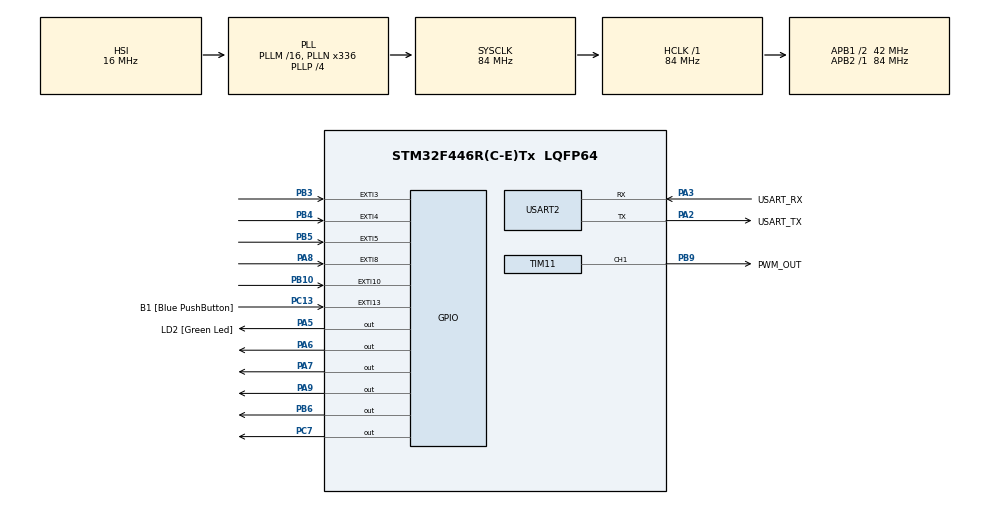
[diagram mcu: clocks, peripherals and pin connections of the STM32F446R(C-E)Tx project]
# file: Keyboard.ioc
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Mcu.Family=STM32F4
Mcu.Name=STM32F446R(C-E)Tx
Mcu.Package=LQFP64
NVIC.EXTI15_10_IRQn=true\:0\:0\:false\:false\:true\:true\:true\:true
NVIC.EXTI3_IRQn=true\:0\:0\:false\:false\:true\:true\:true\:true
NVIC.EXTI4_IRQn=true\:0\:0\:false\:false\:true\:true\:true\:true
NVIC.EXTI9_5_IRQn=true\:0\:0\:false\:false\:true\:true\:true\:true
NVIC.PriorityGroup=NVIC_PRIORITYGROUP_0
NVIC.USART2_IRQn=true\:0\:0\:false\:false\:true\:true\:true\:true
PA13.GPIO_Label=TMS
PA13.Mode=Serial_Wire
PA13.Signal=SYS_JTMS-SWDIO
PA14.GPIO_Label=TCK
PA14.Mode=Serial_Wire
PA14.Signal=SYS_JTCK-SWCLK
PA2.GPIO_Label=USART_TX
PA2.Mode=Asynchronous
PA2.Signal=USART2_TX
PA3.GPIO_Label=USART_RX
PA3.Mode=Asynchronous
PA3.Signal=USART2_RX
PA5.GPIO_Label=LD2 [Green Led]
PA5.Signal=GPIO_Output
PA6.Signal=GPIO_Output
PA7.Signal=GPIO_Output
PA8.GPIO_ModeDefaultEXTI=GPIO_MODE_IT_RISING
PA8.GPIO_PuPd=GPIO_PULLUP
PA8.Signal=GPXTI8
PA9.Signal=GPIO_Output
PB10.GPIO_ModeDefaultEXTI=GPIO_MODE_IT_RISING
PB10.GPIO_PuPd=GPIO_PULLUP
PB10.Signal=GPXTI10
PB3.GPIO_ModeDefaultEXTI=GPIO_MODE_IT_RISING
PB3.GPIO_PuPd=GPIO_PULLUP
PB3.Signal=GPXTI3
PB4.GPIO_ModeDefaultEXTI=GPIO_MODE_IT_RISING
PB4.GPIO_PuPd=GPIO_PULLUP
PB4.Signal=GPXTI4
PB5.GPIO_ModeDefaultEXTI=GPIO_MODE_IT_RISING
PB5.GPIO_PuPd=GPIO_PULLUP
PB5.Signal=GPXTI5
PB6.Signal=GPIO_Output
PB9.GPIO_Label=PWM_OUT
PB9.Signal=S_TIM11_CH1
PC13.GPIO_Label=B1 [Blue PushButton]
PC13.GPIO_ModeDefaultEXTI=GPIO_MODE_IT_FALLING
PC13.Signal=GPXTI13
PC14-OSC32_IN.Mode=LSE-External-Oscillator
PC14-OSC32_IN.Signal=RCC_OSC32_IN
PC15-OSC32_OUT.Mode=LSE-External-Oscillator
PC15-OSC32_OUT.Signal=RCC_OSC32_OUT
PC7.Signal=GPIO_Output
PH0-OSC_IN.Mode=HSE-External-Oscillator
PH0-OSC_IN.Signal=RCC_OSC_IN
PH1-OSC_OUT.Mode=HSE-External-Oscillator
PH1-OSC_OUT.Signal=RCC_OSC_OUT
ProjectManager.HeapSize=0x200
ProjectManager.StackSize=0x400
ProjectManager.TargetToolchain=STM32CubeIDE
RCC.48MHZClocksFreq_Value=84000000
RCC.AHBFreq_Value=84000000
RCC.APB1CLKDivider=RCC_HCLK_DIV2
RCC.APB1Freq_Value=42000000
RCC.APB1TimFreq_Value=84000000
RCC.APB2Freq_Value=84000000
RCC.APB2TimFreq_Value=84000000
RCC.CortexFreq_Value=84000000
RCC.FLatency-AdvancedSettings=FLASH_LATENCY_2
RCC.HCLKFreq_Value=84000000
RCC.HSE_VALUE=8000000
RCC.HSI_VALUE=16000000
RCC.PLLN=336
RCC.PLLP=RCC_PLLP_DIV4
RCC.SYSCLKFreq_VALUE=84000000
RCC.SYSCLKSource=RCC_SYSCLKSOURCE_PLLCLK
RCC.USBFreq_Value=168000000
RCC.VCOOutputFreq_Value=336000000
SH.S_TIM11_CH1.0=TIM11_CH1,PWM Generation1 CH1
TIM11.AutoReloadPreload=TIM_AUTORELOAD_PRELOAD_ENABLE
TIM11.Channel=TIM_CHANNEL_1
TIM11.Period=99
TIM11.Prescaler=83
USART2.VirtualMode=VM_ASYNC
VP_TIM11_VS_ClockSourceINT.Mode=Enable_Timer
board=NUCLEO-F446RE

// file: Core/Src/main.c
/* USER CODE BEGIN Header */
/**
  ******************************************************************************
  * @file           : main.c
  * @brief          : Main program body
  ******************************************************************************
  * @attention
  *
  * Copyright (c) 2025 STMicroelectronics.
  * All rights reserved.
  *
  * This software is licensed under terms that can be found in the LICENSE file
  * in the root directory of this software component.
  * If no LICENSE file comes with this software, it is provided AS-IS.
  *
  ******************************************************************************
  */
/* USER CODE END Header */
#include "main.h"

/* USER CODE BEGIN Includes */
#include "string.h"
#include "stdio.h"
#include "events.h"
/* USER CODE END Includes */

/* USER CODE BEGIN PTD */
typedef enum {
    STATE_F1,
    STATE_F2,
    STATE_F3,
} AppState;

typedef enum { // A bit atypical, but I want to be able to read data from PC connected through UART for better UX
  KEY_0 = '0',
  KEY_1 = '1',
  KEY_2 = '2',
  KEY_3 = '3',
  KEY_4 = '4',
  KEY_5 = '5',
  KEY_6 = '6',
  KEY_7 = '7',
  KEY_8 = '8',
  KEY_9 = '9',
  KEY_Enter = 'e',
  KEY_Clear = 'c',
  KEY_BkSp = 'b',
  KEY_Start = 'S',
  KEY_Stop = 's',
  KEY_ESC = '`',
  KEY_F1 = '!',
  KEY_F2 = '@',
  KEY_F3 = '#',
  KEY_F4 = '$',
  KEY_F5 = '%',
  KEY_Dot = '.',
  KEY_Lock = 'l',
  KEY_OFF = 'f',
  KEY_ON = 'n'
} KeyboardButton;

typedef struct {
	AppState currentState;

	// F1 - screen where user enters voltage and can start/stop PWM
  uint16_t voltage; // register holding voltage that has been validated and is ready to be sent to PWM
  uint16_t inputValue; // register holding current value of "input field"
  bool isVoltageEntered; // flag if we are ready to start PWM. Maybe redundant, we can check against voltage register. But its more robust this way
  bool isPwmRunning;
  char message[64]; // ad hoc message to display

    // F2 - screen where user sets three calibration points - TODO later
    uint16_t calibration_points[3]; // For mapping
} AppContext;

const char keymap[5][5] = {
    {KEY_ESC,  KEY_3,   KEY_2,     KEY_1,     KEY_BkSp},
    {KEY_6,    KEY_5,   KEY_4,     KEY_Clear, KEY_9},
    {KEY_8,    KEY_7,   KEY_Enter, KEY_Dot,   KEY_0},
    {KEY_Lock, KEY_F5,  KEY_F4,    KEY_F3,    KEY_F2},
    {KEY_F1,   KEY_OFF, KEY_ON,    KEY_Stop,  KEY_Start}
};
/* USER CODE END PTD */

TIM_HandleTypeDef htim11;

UART_HandleTypeDef huart2;

/* USER CODE BEGIN PV */
volatile int currentRow = -1; // -1 means no row is active
volatile int lastRow = -1;
volatile int lastCol = -1;
volatile uint32_t lastTriggerTime = 0;
uint8_t receivedChar;
/* USER CODE END PV */

void SystemClock_Config(void);
static void MX_GPIO_Init(void);
static void MX_USART2_UART_Init(void);
static void MX_TIM11_Init(void);
/* USER CODE BEGIN PFP */
void handle_event(AppContext *ctx, AppEvent *evt);
void renderState(AppContext *ctx);
void ClearScreen();
void setRowActive(int row);
void setAllRowsInactive();
void readFlexiKeyboard();

/* USER CODE END PFP */

int main(void)
{

  /* MCU Configuration--------------------------------------------------------*/

  /* Reset of all peripherals, Initializes the Flash interface and the Systick. */
  HAL_Init();

  /* Configure the system clock */
  SystemClock_Config();

  /* Initialize all configured peripherals */
  MX_GPIO_Init();
  MX_USART2_UART_Init();
  MX_TIM11_Init();
  /* USER CODE BEGIN 2 */
  HAL_TIM_PWM_Start(&htim11, TIM_CHANNEL_1);
  setAllRowsInactive();
  HAL_UART_Receive_IT(&huart2, &receivedChar, 1);
  setbuf(stdout, NULL);
  /* USER CODE END 2 */

  /* Infinite loop */
  /* USER CODE BEGIN WHILE */
  AppEvent evt;
  AppContext ctx;
  ctx.currentState = STATE_F1;
  ctx.isVoltageEntered = false;
  ctx.isPwmRunning = false;
  ctx.voltage = 0;
  ctx.inputValue = 0;

  renderState(&ctx);

  while (1)
  {
    if (event_queue_pop(&evt)) {
      handle_event(&ctx, &evt);
      renderState(&ctx);
    }

    readFlexiKeyboard(); // approx 25ms blocking code to scan the keyboard

    /* USER CODE END WHILE */

  }
}

void SystemClock_Config(void)
{
  RCC_OscInitTypeDef RCC_OscInitStruct = {0};
  RCC_ClkInitTypeDef RCC_ClkInitStruct = {0};

  /** Configure the main internal regulator output voltage
  */
  __HAL_RCC_PWR_CLK_ENABLE();
  __HAL_PWR_VOLTAGESCALING_CONFIG(PWR_REGULATOR_VOLTAGE_SCALE3);

  /** Initializes the RCC Oscillators according to the specified parameters
  * in the RCC_OscInitTypeDef structure.
  */
  RCC_OscInitStruct.OscillatorType = RCC_OSCILLATORTYPE_HSI;
  RCC_OscInitStruct.HSIState = RCC_HSI_ON;
  RCC_OscInitStruct.HSICalibrationValue = RCC_HSICALIBRATION_DEFAULT;
  RCC_OscInitStruct.PLL.PLLState = RCC_PLL_ON;
  RCC_OscInitStruct.PLL.PLLSource = RCC_PLLSOURCE_HSI;
  RCC_OscInitStruct.PLL.PLLM = 16;
  RCC_OscInitStruct.PLL.PLLN = 336;
  RCC_OscInitStruct.PLL.PLLP = RCC_PLLP_DIV4;
  RCC_OscInitStruct.PLL.PLLQ = 2;
  RCC_OscInitStruct.PLL.PLLR = 2;
  if (HAL_RCC_OscConfig(&RCC_OscInitStruct) != HAL_OK)
  {
    Error_Handler();
  }

  /** Initializes the CPU, AHB and APB buses clocks
  */
  RCC_ClkInitStruct.ClockType = RCC_CLOCKTYPE_HCLK|RCC_CLOCKTYPE_SYSCLK
                              |RCC_CLOCKTYPE_PCLK1|RCC_CLOCKTYPE_PCLK2;
  RCC_ClkInitStruct.SYSCLKSource = RCC_SYSCLKSOURCE_PLLCLK;
  RCC_ClkInitStruct.AHBCLKDivider = RCC_SYSCLK_DIV1;
  RCC_ClkInitStruct.APB1CLKDivider = RCC_HCLK_DIV2;
  RCC_ClkInitStruct.APB2CLKDivider = RCC_HCLK_DIV1;

  if (HAL_RCC_ClockConfig(&RCC_ClkInitStruct, FLASH_LATENCY_2) != HAL_OK)
  {
    Error_Handler();
  }
}

static void MX_TIM11_Init(void)
{

  TIM_OC_InitTypeDef sConfigOC = {0};

  htim11.Instance = TIM11;
  htim11.Init.Prescaler = 83;
  htim11.Init.CounterMode = TIM_COUNTERMODE_UP;
  htim11.Init.Period = 99;
  htim11.Init.ClockDivision = TIM_CLOCKDIVISION_DIV1;
  htim11.Init.AutoReloadPreload = TIM_AUTORELOAD_PRELOAD_ENABLE;
  if (HAL_TIM_Base_Init(&htim11) != HAL_OK)
  {
    Error_Handler();
  }
  if (HAL_TIM_PWM_Init(&htim11) != HAL_OK)
  {
    Error_Handler();
  }
  sConfigOC.OCMode = TIM_OCMODE_PWM1;
  sConfigOC.Pulse = 0;
  sConfigOC.OCPolarity = TIM_OCPOLARITY_HIGH;
  sConfigOC.OCFastMode = TIM_OCFAST_DISABLE;
  if (HAL_TIM_PWM_ConfigChannel(&htim11, &sConfigOC, TIM_CHANNEL_1) != HAL_OK)
  {
    Error_Handler();
  }
  HAL_TIM_MspPostInit(&htim11);

}

static void MX_USART2_UART_Init(void)
{

  huart2.Instance = USART2;
  huart2.Init.BaudRate = 115200;
  huart2.Init.WordLength = UART_WORDLENGTH_8B;
  huart2.Init.StopBits = UART_STOPBITS_1;
  huart2.Init.Parity = UART_PARITY_NONE;
  huart2.Init.Mode = UART_MODE_TX_RX;
  huart2.Init.HwFlowCtl = UART_HWCONTROL_NONE;
  huart2.Init.OverSampling = UART_OVERSAMPLING_16;
  if (HAL_UART_Init(&huart2) != HAL_OK)
  {
    Error_Handler();
  }

}

static void MX_GPIO_Init(void)
{
  GPIO_InitTypeDef GPIO_InitStruct = {0};

  /* GPIO Ports Clock Enable */
  __HAL_RCC_GPIOC_CLK_ENABLE();
  __HAL_RCC_GPIOH_CLK_ENABLE();
  __HAL_RCC_GPIOA_CLK_ENABLE();
  __HAL_RCC_GPIOB_CLK_ENABLE();

  /*Configure GPIO pin Output Level */
  HAL_GPIO_WritePin(GPIOA, LD2_Pin|GPIO_PIN_6|GPIO_PIN_7|GPIO_PIN_9, GPIO_PIN_RESET);

  /*Configure GPIO pin Output Level */
  HAL_GPIO_WritePin(GPIOC, GPIO_PIN_7, GPIO_PIN_RESET);

  /*Configure GPIO pin Output Level */
  HAL_GPIO_WritePin(GPIOB, GPIO_PIN_6, GPIO_PIN_RESET);

  /*Configure GPIO pin : B1_Pin */
  GPIO_InitStruct.Pin = B1_Pin;
  GPIO_InitStruct.Mode = GPIO_MODE_IT_FALLING;
  GPIO_InitStruct.Pull = GPIO_NOPULL;
  HAL_GPIO_Init(B1_GPIO_Port, &GPIO_InitStruct);

  /*Configure GPIO pins : LD2_Pin PA6 PA7 PA9 */
  GPIO_InitStruct.Pin = LD2_Pin|GPIO_PIN_6|GPIO_PIN_7|GPIO_PIN_9;
  GPIO_InitStruct.Mode = GPIO_MODE_OUTPUT_PP;
  GPIO_InitStruct.Pull = GPIO_NOPULL;
  GPIO_InitStruct.Speed = GPIO_SPEED_FREQ_LOW;
  HAL_GPIO_Init(GPIOA, &GPIO_InitStruct);

  /*Configure GPIO pins : PB10 PB3 PB4 PB5 */
  GPIO_InitStruct.Pin = GPIO_PIN_10|GPIO_PIN_3|GPIO_PIN_4|GPIO_PIN_5;
  GPIO_InitStruct.Mode = GPIO_MODE_IT_RISING;
  GPIO_InitStruct.Pull = GPIO_PULLUP;
  HAL_GPIO_Init(GPIOB, &GPIO_InitStruct);

  /*Configure GPIO pin : PC7 */
  GPIO_InitStruct.Pin = GPIO_PIN_7;
  GPIO_InitStruct.Mode = GPIO_MODE_OUTPUT_PP;
  GPIO_InitStruct.Pull = GPIO_NOPULL;
  GPIO_InitStruct.Speed = GPIO_SPEED_FREQ_LOW;
  HAL_GPIO_Init(GPIOC, &GPIO_InitStruct);

  /*Configure GPIO pin : PA8 */
  GPIO_InitStruct.Pin = GPIO_PIN_8;
  GPIO_InitStruct.Mode = GPIO_MODE_IT_RISING;
  GPIO_InitStruct.Pull = GPIO_PULLUP;
  HAL_GPIO_Init(GPIOA, &GPIO_InitStruct);

  /*Configure GPIO pin : PB6 */
  GPIO_InitStruct.Pin = GPIO_PIN_6;
  GPIO_InitStruct.Mode = GPIO_MODE_OUTPUT_PP;
  GPIO_InitStruct.Pull = GPIO_NOPULL;
  GPIO_InitStruct.Speed = GPIO_SPEED_FREQ_LOW;
  HAL_GPIO_Init(GPIOB, &GPIO_InitStruct);

  /* EXTI interrupt init*/
  HAL_NVIC_SetPriority(EXTI3_IRQn, 0, 0);
  HAL_NVIC_EnableIRQ(EXTI3_IRQn);

  HAL_NVIC_SetPriority(EXTI4_IRQn, 0, 0);
  HAL_NVIC_EnableIRQ(EXTI4_IRQn);

  HAL_NVIC_SetPriority(EXTI9_5_IRQn, 0, 0);
  HAL_NVIC_EnableIRQ(EXTI9_5_IRQn);

  HAL_NVIC_SetPriority(EXTI15_10_IRQn, 0, 0);
  HAL_NVIC_EnableIRQ(EXTI15_10_IRQn);

}

/* USER CODE BEGIN 4 */
void readFlexiKeyboard()
{
  for (int row = 0; row < 5; row++)
  {
      setRowActive(row);       // Pull only one row LOW
      currentRow = row;        // Track active row
      HAL_Delay(5);            // Wait to detect keypress

      setAllRowsInactive();    // Set all rows HIGH again
      currentRow = -1;
  }
}

void HAL_GPIO_EXTI_Callback(uint16_t GPIO_Pin)
{
    if (currentRow == -1) return; // No row active, ignore

    int col = -1;

    switch (GPIO_Pin)
    {
        case GPIO_PIN_3:  col = 0; break; // PB3
        case GPIO_PIN_5:  col = 1; break; // PB5
        case GPIO_PIN_4:  col = 2; break; // PB4
        case GPIO_PIN_10: col = 3; break; // PB10
        case GPIO_PIN_8:  col = 4; break; // PA8
    }

    if (col != -1)
    {
      uint32_t now = HAL_GetTick();
      if (lastRow == currentRow && lastCol == col && (now - lastTriggerTime < 300)) {
          return; // HACKY debounce/repeat suppression
      }
      lastRow = currentRow;
      lastCol = col;
      lastTriggerTime = now;
      // Key at (currentRow, col) was pressed!
      // printf("Pressed row %d and col %d\r\n", currentRow, col);

      receivedChar = keymap[currentRow][col];
      // printf("Which is hopefully %c\r\n", receivedChar);
      AppEvent evt = { .type = EVENT_KEY_PRESSED, .key = receivedChar };
      event_queue_push(evt);
    }
}

void setAllRowsInactive()
{
    // Set all rows HIGH (not active)
    HAL_GPIO_WritePin(GPIOA, GPIO_PIN_6 | GPIO_PIN_7 | GPIO_PIN_9, GPIO_PIN_SET);
    HAL_GPIO_WritePin(GPIOB, GPIO_PIN_6, GPIO_PIN_SET);
    HAL_GPIO_WritePin(GPIOC, GPIO_PIN_7, GPIO_PIN_SET);
}

void setRowActive(int row)
{
    setAllRowsInactive();

    switch (row)
    {
        case 0: HAL_GPIO_WritePin(GPIOA, GPIO_PIN_9, GPIO_PIN_RESET); break;
        case 1: HAL_GPIO_WritePin(GPIOC, GPIO_PIN_7, GPIO_PIN_RESET); break;
        case 2: HAL_GPIO_WritePin(GPIOB, GPIO_PIN_6, GPIO_PIN_RESET); break;
        case 3: HAL_GPIO_WritePin(GPIOA, GPIO_PIN_7, GPIO_PIN_RESET); break;
        case 4: HAL_GPIO_WritePin(GPIOA, GPIO_PIN_6, GPIO_PIN_RESET); break;
    }
}

void SetCursorPosition(int row, int col) {
  printf("\033[%d;%dH", row, col);
}

void ClearScreen() {
  printf("\033[2J");
  printf("\033[H"); // Move cursor to top-left corner
}

void clearInput(AppContext *ctx) {
  ctx->inputValue = 0;
}

void clearVoltage(AppContext *ctx) {
  ctx->voltage = 0;
  ctx->isVoltageEntered = false;
}

void backspace(AppContext *ctx) {
  ctx->inputValue = ctx->inputValue / 10;
}

void stopPWM(AppContext *ctx) {
  ctx->isPwmRunning = false;
  __HAL_TIM_SET_COMPARE(&htim11, TIM_CHANNEL_1, 0);
}

void startPWM(AppContext *ctx) {
  ctx->isPwmRunning = true;
  __HAL_TIM_SET_COMPARE(&htim11, TIM_CHANNEL_1, ctx->voltage / 4);
}

void setSTATE_F2(AppContext *ctx) {
  ctx->currentState = STATE_F2;
}

void setSTATE_F1(AppContext *ctx) {
  ctx->currentState = STATE_F1;
}

void validateAndSetVoltage(AppContext *ctx) {
  if (ctx->inputValue < 80 || ctx->inputValue > 400)
  {
    strcpy(ctx->message, "Input voltage has to be in range 80 - 400. Resetting, try again!\r\n");
    clearInput(ctx);
    return;
  }
  ctx->isVoltageEntered = true;
  ctx->voltage = ctx->inputValue;
  ctx->inputValue = 0;
  sprintf(ctx->message, "Voltage %d has been successfully entered\r\n", ctx->voltage);

}

void updateInput(AppContext *ctx, KeyboardButton key) {
  uint8_t digit = key - '0';
  ctx->inputValue = ctx->inputValue * 10 + digit;
  if (ctx->inputValue > 400) {
    strcpy(ctx->message, "Input set too high, resetting. Try again\r\n");
    clearInput(ctx);
  }
}

void handle_event(AppContext *ctx, AppEvent *evt) {
  ctx->message[0] = '\0';
  switch (evt->type) {
    case EVENT_KEY_PRESSED:
      if (ctx->currentState == STATE_F1) {
        if (ctx->isPwmRunning == true)
        {
          if (evt->key == KEY_Stop) stopPWM(ctx);
          return; // when PWM is running, we can only press the "STOP" button
        }

        if (ctx->isVoltageEntered == true) // valid voltage has been entered
        {
          if (evt->key == KEY_Start) startPWM(ctx);
        }

        if (evt->key >= KEY_0 && evt->key <= KEY_9) updateInput(ctx, evt->key);
        if (evt->key == KEY_Clear) clearVoltage(ctx);
        if (evt->key == KEY_Enter) validateAndSetVoltage(ctx);
        if (evt->key == KEY_BkSp) backspace(ctx);
        if (evt->key == KEY_F2) setSTATE_F2(ctx);
        if (evt->key == KEY_ESC) clearInput(ctx);
      }

      if (ctx->currentState == STATE_F2) {
        if (evt->key == KEY_F1) setSTATE_F1(ctx);
        return;
      }
      break;
    case EVENT_TIMER_TICK:
      // Maybe update screen or timeout handler
      break;
    default:
      break;
  }
}

void renderState(AppContext *ctx) {
  ClearScreen();
  SetCursorPosition(1, 1);
  if (ctx->currentState == STATE_F1) {
    printf("Voltage control");
    SetCursorPosition(2, 1);
    printf("Current input: %d", ctx->inputValue);
    SetCursorPosition(3, 1);
    if (ctx->voltage > 0) {
      printf("Voltage: %dV", ctx->voltage);
    } else {
      printf("Voltage: N/A");
    }
    SetCursorPosition(4, 1);
    if (ctx->isPwmRunning == true) {
      printf("PWM is running at %dV", ctx->voltage);
    } else {
      printf("PWM is OFF");
    }
    SetCursorPosition(5, 1);
    printf(ctx->message);
  }
}

void HAL_UART_RxCpltCallback(UART_HandleTypeDef *huart)
{
  if (huart->Instance == USART2)
  {
    AppEvent evt = { .type = EVENT_KEY_PRESSED, .key = receivedChar };
    event_queue_push(evt);

    // Start receiving the next character again
    HAL_UART_Receive_IT(&huart2, &receivedChar, 1);
  }
}

int __io_putchar(int ch) {
  if (HAL_UART_Transmit(&huart2, (uint8_t *)&ch, 1, HAL_MAX_DELAY) != HAL_OK) {
    return -1;
  }
  return ch;
}
/* USER CODE END 4 */

void Error_Handler(void)
{
  __disable_irq();
  while (1)
  {
  }
}
